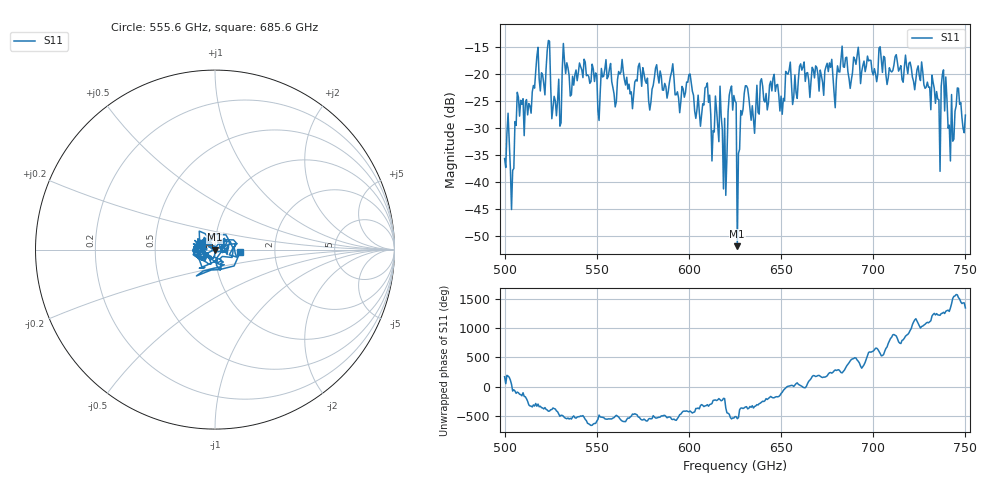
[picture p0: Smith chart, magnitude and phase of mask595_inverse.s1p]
!Created with skrf (http://scikit-rf.org).
# GHz S MA R 50.0
!freq magS11 angS11
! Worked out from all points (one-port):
!   401 points, 500 GHz to 750 GHz, reference 50 ohm
!   lowest |S11| = -51.9 dB at 626.2 GHz (marker M1), VSWR 1.01, Z = 49.8 + j0.045 ohm
!   |S11| at or under -10 dB: start of sweep to end of sweep
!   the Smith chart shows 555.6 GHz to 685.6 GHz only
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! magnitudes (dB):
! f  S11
! 500 GHz  -35.7
! 503.8 GHz  -45.2
! 506.9 GHz  -23.5
! 513.8 GHz  -26.0
! 516.9 GHz  -19.6
! 523.8 GHz  -13.9
! 526.9 GHz  -24.2
! 531.2 GHz  -19.5
! 533.1 GHz  -20.0
! 550.6 GHz  -26.8
! 562.5 GHz  -20.1
! 590.6 GHz  -19.6
! 593.8 GHz  -23.4
! 610 GHz  -21.7
! 619.4 GHz  -28.3
! 623.1 GHz  -22.3
! 625 GHz  -25.1
! 626.2 GHz  -51.9
! 631.2 GHz  -22.3
! 635 GHz  -28.4
! 656.2 GHz  -25.7
! 687.5 GHz  -22.7
! 718.8 GHz  -20.0
! 735 GHz  -24.7
! 738.1 GHz  -19.3
! 742.5 GHz  -23.9
! 746.2 GHz  -22.7
! 750 GHz  -27.7
